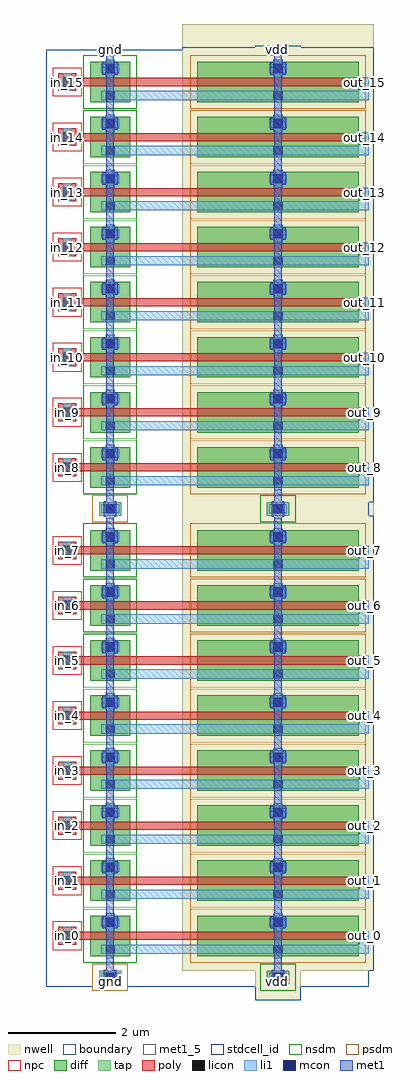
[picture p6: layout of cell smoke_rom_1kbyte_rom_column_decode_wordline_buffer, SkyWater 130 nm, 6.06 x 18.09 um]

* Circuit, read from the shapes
.subckt smoke_rom_1kbyte_rom_column_decode_wordline_buffer gnd in_0 in_1 in_10 in_11 in_12 in_13 in_14 in_15 in_2 in_3 in_4 in_5 in_6 in_7 in_8 in_9 out_0 out_1 out_10 out_11 out_12 out_13 out_14 out_15 out_2 out_3 out_4 out_5 out_6 out_7 out_8 out_9 vdd
XM1 gnd in_0 out_0 gnd sky130_fd_pr__nfet_01v8 w=0.74 l=0.15
XM2 gnd in_1 out_1 gnd sky130_fd_pr__nfet_01v8 w=0.74 l=0.15
XM3 gnd in_2 out_2 gnd sky130_fd_pr__nfet_01v8 w=0.74 l=0.15
XM4 gnd in_3 out_3 gnd sky130_fd_pr__nfet_01v8 w=0.74 l=0.15
XM5 gnd in_4 out_4 gnd sky130_fd_pr__nfet_01v8 w=0.74 l=0.15
XM6 gnd in_5 out_5 gnd sky130_fd_pr__nfet_01v8 w=0.74 l=0.15
XM7 gnd in_6 out_6 gnd sky130_fd_pr__nfet_01v8 w=0.74 l=0.15
XM8 gnd in_7 out_7 gnd sky130_fd_pr__nfet_01v8 w=0.74 l=0.15
XM9 gnd in_8 out_8 gnd sky130_fd_pr__nfet_01v8 w=0.74 l=0.15
XM10 gnd in_9 out_9 gnd sky130_fd_pr__nfet_01v8 w=0.74 l=0.15
XM11 gnd in_10 out_10 gnd sky130_fd_pr__nfet_01v8 w=0.74 l=0.15
XM12 gnd in_11 out_11 gnd sky130_fd_pr__nfet_01v8 w=0.74 l=0.15
XM13 gnd in_12 out_12 gnd sky130_fd_pr__nfet_01v8 w=0.74 l=0.15
XM14 gnd in_13 out_13 gnd sky130_fd_pr__nfet_01v8 w=0.74 l=0.15
XM15 gnd in_14 out_14 gnd sky130_fd_pr__nfet_01v8 w=0.74 l=0.15
XM16 gnd in_15 out_15 gnd sky130_fd_pr__nfet_01v8 w=0.74 l=0.15
XM17 vdd in_0 out_0 vdd sky130_fd_pr__pfet_01v8 w=3 l=0.15
XM18 vdd in_1 out_1 vdd sky130_fd_pr__pfet_01v8 w=3 l=0.15
XM19 vdd in_2 out_2 vdd sky130_fd_pr__pfet_01v8 w=3 l=0.15
XM20 vdd in_3 out_3 vdd sky130_fd_pr__pfet_01v8 w=3 l=0.15
XM21 vdd in_4 out_4 vdd sky130_fd_pr__pfet_01v8 w=3 l=0.15
XM22 vdd in_5 out_5 vdd sky130_fd_pr__pfet_01v8 w=3 l=0.15
XM23 vdd in_6 out_6 vdd sky130_fd_pr__pfet_01v8 w=3 l=0.15
XM24 vdd in_7 out_7 vdd sky130_fd_pr__pfet_01v8 w=3 l=0.15
XM25 vdd in_8 out_8 vdd sky130_fd_pr__pfet_01v8 w=3 l=0.15
XM26 vdd in_9 out_9 vdd sky130_fd_pr__pfet_01v8 w=3 l=0.15
XM27 vdd in_10 out_10 vdd sky130_fd_pr__pfet_01v8 w=3 l=0.15
XM28 vdd in_11 out_11 vdd sky130_fd_pr__pfet_01v8 w=3 l=0.15
XM29 vdd in_12 out_12 vdd sky130_fd_pr__pfet_01v8 w=3 l=0.15
XM30 vdd in_13 out_13 vdd sky130_fd_pr__pfet_01v8 w=3 l=0.15
XM31 vdd in_14 out_14 vdd sky130_fd_pr__pfet_01v8 w=3 l=0.15
XM32 vdd in_15 out_15 vdd sky130_fd_pr__pfet_01v8 w=3 l=0.15
.ends

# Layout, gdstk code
from math import pi, radians
import gdstk
lib = gdstk.Library(unit=1e-6, precision=1e-09)
def R(c, l, rs):  # rectangles x0, y0, x1, y1
    for r in rs: c.add(gdstk.rectangle(r[:2], r[2:], *l))
def A(c, l, x, y, w, h, nx, ny, dx, dy):  # array of equal rectangles
    R(c, l, [(x+i*dx, y+j*dy, x+i*dx+w, y+j*dy+h) for i in range(nx) for j in range(ny)])
nwell = (64, 20)
diff = (65, 20)
tap = (65, 44)
poly = (66, 20)
licon = (66, 44)
li1 = (67, 20)
mcon = (67, 44)
met1_5 = (68, 5)
met1 = (68, 20)
stdcell_id = (81, 4)
nsdm = (93, 44)
psdm = (94, 20)
npc = (95, 20)
boundary = (235, 4)

smoke_rom_1kbyte_contact = lib.new_cell('smoke_rom_1kbyte_contact_10')
R(smoke_rom_1kbyte_contact, nwell, [(-0.295,-0.255,0.545,0.585)])
R(smoke_rom_1kbyte_contact, diff, [(0,0.02,0.25,0.31)])
R(smoke_rom_1kbyte_contact, licon, [(0.04,0.08,0.21,0.25)])
R(smoke_rom_1kbyte_contact, li1, [(0.04,0,0.21,0.33)])
R(smoke_rom_1kbyte_contact, stdcell_id, [(-0.295,-0.255,0.545,0.585)])
R(smoke_rom_1kbyte_contact, psdm, [(-0.125,-0.105,0.375,0.435)])
R(smoke_rom_1kbyte_contact, boundary, [(-0.295,-0.255,0.545,0.585)])

smoke_rom_1kbyte_pmos_m1 = lib.new_cell('smoke_rom_1kbyte_pmos_m1_w3_000_sli_dli_da_p')
R(smoke_rom_1kbyte_pmos_m1, nwell, [(-0.27,-0.27,1.02,3.27)])
R(smoke_rom_1kbyte_pmos_m1, diff, [(0,0,0.75,3)])
R(smoke_rom_1kbyte_pmos_m1, poly, [(0.3,-0.13,0.45,3.13), (0.3,-0.13,0.45,3.13)])
R(smoke_rom_1kbyte_pmos_m1, li1, [(0.04,1.335,0.21,1.665), (0.54,1.335,0.71,1.665)])
R(smoke_rom_1kbyte_pmos_m1, stdcell_id, [(-0.27,-0.27,1.02,3.27)])
R(smoke_rom_1kbyte_pmos_m1, psdm, [(-0.125,-0.125,0.875,3.125)])
R(smoke_rom_1kbyte_pmos_m1, boundary, [(-0.27,-0.27,1.02,3.27)])
smoke_rom_1kbyte_pmos_m1.add(gdstk.Reference(smoke_rom_1kbyte_contact, (0,1.335)))
smoke_rom_1kbyte_pmos_m1.add(gdstk.Reference(smoke_rom_1kbyte_contact, (0.5,1.335)))
smoke_rom_1kbyte_pmos_m1.add(gdstk.Label('G', (0.375,1.5), layer=66, texttype=5))
smoke_rom_1kbyte_pmos_m1.add(gdstk.Label('S', (0.125,1.5), layer=67, texttype=5))
smoke_rom_1kbyte_pmos_m1.add(gdstk.Label('D', (0.625,1.5), layer=67, texttype=5))

c_smoke_rom_1kbyte_contact = lib.new_cell('smoke_rom_1kbyte_contact_8')
R(c_smoke_rom_1kbyte_contact, diff, [(0,0.02,0.25,0.31)])
R(c_smoke_rom_1kbyte_contact, licon, [(0.04,0.08,0.21,0.25)])
R(c_smoke_rom_1kbyte_contact, li1, [(0.04,0,0.21,0.33)])
R(c_smoke_rom_1kbyte_contact, stdcell_id, [(-0.125,-0.105,0.375,0.435)])
R(c_smoke_rom_1kbyte_contact, nsdm, [(-0.125,-0.105,0.375,0.435)])
R(c_smoke_rom_1kbyte_contact, boundary, [(-0.125,-0.105,0.375,0.435)])

smoke_rom_1kbyte_nmos_m1 = lib.new_cell('smoke_rom_1kbyte_nmos_m1_w0_740_sli_dli_da_p')
R(smoke_rom_1kbyte_nmos_m1, diff, [(0,0,0.75,0.74)])
R(smoke_rom_1kbyte_nmos_m1, poly, [(0.3,-0.13,0.45,0.87), (0.3,-0.13,0.45,0.87)])
R(smoke_rom_1kbyte_nmos_m1, li1, [(0.04,0.205,0.21,0.535), (0.54,0.205,0.71,0.535)])
R(smoke_rom_1kbyte_nmos_m1, stdcell_id, [(-0.125,-0.13,0.875,0.87)])
R(smoke_rom_1kbyte_nmos_m1, nsdm, [(-0.125,-0.125,0.875,0.865)])
R(smoke_rom_1kbyte_nmos_m1, boundary, [(-0.125,-0.13,0.875,0.87)])
smoke_rom_1kbyte_nmos_m1.add(gdstk.Reference(c_smoke_rom_1kbyte_contact, (0,0.205)))
smoke_rom_1kbyte_nmos_m1.add(gdstk.Reference(c_smoke_rom_1kbyte_contact, (0.5,0.205)))
smoke_rom_1kbyte_nmos_m1.add(gdstk.Label('G', (0.375,0.37), layer=66, texttype=5))
smoke_rom_1kbyte_nmos_m1.add(gdstk.Label('S', (0.125,0.37), layer=67, texttype=5))
smoke_rom_1kbyte_nmos_m1.add(gdstk.Label('D', (0.625,0.37), layer=67, texttype=5))

c_smoke_rom_1kbyte_contact_ = lib.new_cell('smoke_rom_1kbyte_contact_11')
R(c_smoke_rom_1kbyte_contact_, poly, [(0,0,0.33,0.33)])
R(c_smoke_rom_1kbyte_contact_, licon, [(0.08,0.08,0.25,0.25)])
R(c_smoke_rom_1kbyte_contact_, li1, [(0.08,0,0.25,0.33)])
R(c_smoke_rom_1kbyte_contact_, stdcell_id, [(-0.1,-0.1,0.43,0.43)])
R(c_smoke_rom_1kbyte_contact_, npc, [(-0.1,-0.1,0.43,0.43)])
R(c_smoke_rom_1kbyte_contact_, boundary, [(-0.1,-0.1,0.43,0.43)])

c_smoke_rom_1kbyte_contact__ = lib.new_cell('smoke_rom_1kbyte_contact_12')
R(c_smoke_rom_1kbyte_contact__, li1, [(0.06,0,0.23,0.33)])
R(c_smoke_rom_1kbyte_contact__, mcon, [(0.06,0.08,0.23,0.25)])
R(c_smoke_rom_1kbyte_contact__, met1, [(0,0.05,0.29,0.28)])
R(c_smoke_rom_1kbyte_contact__, stdcell_id, [(0,0,0.29,0.33)])
R(c_smoke_rom_1kbyte_contact__, boundary, [(0,0,0.29,0.33)])

smoke_rom_1kbyte_pinv_de = lib.new_cell('smoke_rom_1kbyte_pinv_dec_2')
R(smoke_rom_1kbyte_pinv_de, nwell, [(2.52,0,6.06,1.495)])
R(smoke_rom_1kbyte_pinv_de, poly, [(0.385,0.345,0.68,0.495), (1.68,0.345,2.66,0.495)])
R(smoke_rom_1kbyte_pinv_de, li1, [(1.015,0.085,5.97,0.255), (0.3,0.255,0.47,0.585)])
R(smoke_rom_1kbyte_pinv_de, met1_5, [(1.11,0,1.25,1.02), (4.22,0,4.36,1.02)])
R(smoke_rom_1kbyte_pinv_de, met1, [(1.11,0,1.25,1.02), (4.22,0,4.36,1.02)])
R(smoke_rom_1kbyte_pinv_de, stdcell_id, [(0,0,5.97,1.02), (0,0,5.97,1.02)])
R(smoke_rom_1kbyte_pinv_de, nsdm, [(0.685,0,1.675,0.795)])
R(smoke_rom_1kbyte_pinv_de, psdm, [(2.665,0,5.915,0.795)])
R(smoke_rom_1kbyte_pinv_de, boundary, [(0,0,5.97,1.02), (0,0,5.97,1.02)])
smoke_rom_1kbyte_pinv_de.add(gdstk.Reference(smoke_rom_1kbyte_pmos_m1, (2.79,0.795), rotation=3*pi/2))
smoke_rom_1kbyte_pinv_de.add(gdstk.Reference(smoke_rom_1kbyte_nmos_m1, (0.81,0.795), rotation=3*pi/2))
smoke_rom_1kbyte_pinv_de.add(gdstk.Reference(c_smoke_rom_1kbyte_contact_, (0.22,0.255)))
smoke_rom_1kbyte_pinv_de.add(gdstk.Reference(c_smoke_rom_1kbyte_contact__, (1.035,0.505)))
smoke_rom_1kbyte_pinv_de.add(gdstk.Reference(c_smoke_rom_1kbyte_contact__, (4.145,0.505)))
smoke_rom_1kbyte_pinv_de.add(gdstk.Label('A', (0.385,0.42), layer=67, texttype=5))
smoke_rom_1kbyte_pinv_de.add(gdstk.Label('Z', (3.492,0.17), layer=67, texttype=5))
smoke_rom_1kbyte_pinv_de.add(gdstk.Label('gnd', (1.18,0.51), layer=68, texttype=5))
smoke_rom_1kbyte_pinv_de.add(gdstk.Label('vdd', (4.29,0.51), layer=68, texttype=5))

c_smoke_rom_1kbyte_contact___ = lib.new_cell('smoke_rom_1kbyte_contact_15')
R(c_smoke_rom_1kbyte_contact___, nwell, [(-0.215,-0.295,0.625,0.545)])
R(c_smoke_rom_1kbyte_contact___, tap, [(0,0,0.41,0.25)])
R(c_smoke_rom_1kbyte_contact___, licon, [(0.12,0.04,0.29,0.21)])
R(c_smoke_rom_1kbyte_contact___, li1, [(0.04,0.04,0.37,0.21)])
R(c_smoke_rom_1kbyte_contact___, stdcell_id, [(-0.215,-0.295,0.625,0.545)])
R(c_smoke_rom_1kbyte_contact___, nsdm, [(-0.125,-0.125,0.535,0.375)])
R(c_smoke_rom_1kbyte_contact___, boundary, [(-0.215,-0.295,0.625,0.545)])

c_smoke_rom_1kbyte_contact____ = lib.new_cell('smoke_rom_1kbyte_contact_17')
R(c_smoke_rom_1kbyte_contact____, li1, [(0,0.06,0.33,0.23)])
R(c_smoke_rom_1kbyte_contact____, mcon, [(0.08,0.06,0.25,0.23)])
R(c_smoke_rom_1kbyte_contact____, met1, [(0.05,0,0.28,0.29)])
R(c_smoke_rom_1kbyte_contact____, stdcell_id, [(0,0,0.33,0.29)])
R(c_smoke_rom_1kbyte_contact____, boundary, [(0,0,0.33,0.29)])

c_smoke_rom_1kbyte_contact_____ = lib.new_cell('smoke_rom_1kbyte_contact_16')
R(c_smoke_rom_1kbyte_contact_____, tap, [(0,0,0.41,0.25)])
R(c_smoke_rom_1kbyte_contact_____, licon, [(0.12,0.04,0.29,0.21)])
R(c_smoke_rom_1kbyte_contact_____, li1, [(0.04,0.04,0.37,0.21)])
R(c_smoke_rom_1kbyte_contact_____, stdcell_id, [(-0.125,-0.125,0.535,0.375)])
R(c_smoke_rom_1kbyte_contact_____, psdm, [(-0.125,-0.125,0.535,0.375)])
R(c_smoke_rom_1kbyte_contact_____, boundary, [(-0.125,-0.125,0.535,0.375)])

smoke_rom_1kbyte_rom_col = lib.new_cell('smoke_rom_1kbyte_rom_column_decode_wordline_buffer')
A(smoke_rom_1kbyte_rom_col, li1, 5.8, 0.69, 0.17, 0.335, 1, 8, 0, 1.02)
A(smoke_rom_1kbyte_rom_col, li1, 0.3, 0.775, 0.17, 0.33, 1, 8, 0, 1.02)
A(smoke_rom_1kbyte_rom_col, li1, 5.8, 0.855, 0.17, 0.17, 1, 8, 0, 1.02)
A(smoke_rom_1kbyte_rom_col, li1, 5.8, 9.37, 0.17, 0.335, 1, 8, 0, 1.02)
A(smoke_rom_1kbyte_rom_col, li1, 0.3, 9.455, 0.17, 0.33, 1, 8, 0, 1.02)
A(smoke_rom_1kbyte_rom_col, li1, 5.8, 9.535, 0.17, 0.17, 1, 8, 0, 1.02)
R(smoke_rom_1kbyte_rom_col, met1_5, [(1.11,0.03,1.25,0.17), (4.22,0.03,4.36,0.17), (1.11,17.29,1.25,17.43), (4.22,17.29,4.36,17.43)])
A(smoke_rom_1kbyte_rom_col, met1, 1.11, 0.96, 0.14, 0.14, 1, 8, 0, 1.02)
A(smoke_rom_1kbyte_rom_col, met1, 4.22, 0.96, 0.14, 0.14, 1, 8, 0, 1.02)
A(smoke_rom_1kbyte_rom_col, met1, 1.11, 9.64, 0.14, 0.14, 1, 8, 0, 1.02)
A(smoke_rom_1kbyte_rom_col, met1, 4.22, 9.64, 0.14, 0.14, 1, 8, 0, 1.02)
R(smoke_rom_1kbyte_rom_col, met1, [(1.11,0.03,1.25,0.17), (1.11,0.03,1.25,17.43), (4.22,0.03,4.36,0.17), (4.22,0.03,4.36,17.43), (1.11,0.1,1.25,0.24), (4.22,0.1,4.36,0.24), (1.11,8.78,1.25,8.92), (4.22,8.78,4.36,8.92), (1.11,17.29,1.25,17.43), (4.22,17.29,4.36,17.43)])
R(smoke_rom_1kbyte_rom_col, stdcell_id, [(0,0,5.97,16.32)])
R(smoke_rom_1kbyte_rom_col, boundary, [(0,0,5.97,16.32)])
smoke_rom_1kbyte_rom_col.add(gdstk.Reference(smoke_rom_1kbyte_pinv_de, (0,0.52)))
smoke_rom_1kbyte_rom_col.add(gdstk.Reference(smoke_rom_1kbyte_pinv_de, (0,1.54)))
smoke_rom_1kbyte_rom_col.add(gdstk.Reference(smoke_rom_1kbyte_pinv_de, (0,2.56)))
smoke_rom_1kbyte_rom_col.add(gdstk.Reference(smoke_rom_1kbyte_pinv_de, (0,3.58)))
smoke_rom_1kbyte_rom_col.add(gdstk.Reference(smoke_rom_1kbyte_pinv_de, (0,4.6)))
smoke_rom_1kbyte_rom_col.add(gdstk.Reference(smoke_rom_1kbyte_pinv_de, (0,5.62)))
smoke_rom_1kbyte_rom_col.add(gdstk.Reference(smoke_rom_1kbyte_pinv_de, (0,6.64)))
smoke_rom_1kbyte_rom_col.add(gdstk.Reference(smoke_rom_1kbyte_pinv_de, (0,7.66)))
smoke_rom_1kbyte_rom_col.add(gdstk.Reference(smoke_rom_1kbyte_pinv_de, (0,9.2)))
smoke_rom_1kbyte_rom_col.add(gdstk.Reference(smoke_rom_1kbyte_pinv_de, (0,10.22)))
smoke_rom_1kbyte_rom_col.add(gdstk.Reference(smoke_rom_1kbyte_pinv_de, (0,11.24)))
smoke_rom_1kbyte_rom_col.add(gdstk.Reference(smoke_rom_1kbyte_pinv_de, (0,12.26)))
smoke_rom_1kbyte_rom_col.add(gdstk.Reference(smoke_rom_1kbyte_pinv_de, (0,13.28)))
smoke_rom_1kbyte_rom_col.add(gdstk.Reference(smoke_rom_1kbyte_pinv_de, (0,14.3)))
smoke_rom_1kbyte_rom_col.add(gdstk.Reference(smoke_rom_1kbyte_pinv_de, (0,15.32)))
smoke_rom_1kbyte_rom_col.add(gdstk.Reference(smoke_rom_1kbyte_pinv_de, (0,16.34)))
smoke_rom_1kbyte_rom_col.add(gdstk.Reference(c_smoke_rom_1kbyte_contact___, (4.085,0.045)))
smoke_rom_1kbyte_rom_col.add(gdstk.Reference(c_smoke_rom_1kbyte_contact____, (4.125,0.025)))
smoke_rom_1kbyte_rom_col.add(gdstk.Reference(c_smoke_rom_1kbyte_contact_____, (0.975,0.045)))
smoke_rom_1kbyte_rom_col.add(gdstk.Reference(c_smoke_rom_1kbyte_contact____, (1.015,0.025)))
smoke_rom_1kbyte_rom_col.add(gdstk.Reference(c_smoke_rom_1kbyte_contact___, (4.085,8.725)))
smoke_rom_1kbyte_rom_col.add(gdstk.Reference(c_smoke_rom_1kbyte_contact____, (4.125,8.705)))
smoke_rom_1kbyte_rom_col.add(gdstk.Reference(c_smoke_rom_1kbyte_contact_____, (0.975,8.725)))
smoke_rom_1kbyte_rom_col.add(gdstk.Reference(c_smoke_rom_1kbyte_contact____, (1.015,8.705)))
smoke_rom_1kbyte_rom_col.add(gdstk.Label('in_0', (0.385,0.94), layer=67, texttype=5))
smoke_rom_1kbyte_rom_col.add(gdstk.Label('out_0', (5.885,0.94), layer=67, texttype=5))
smoke_rom_1kbyte_rom_col.add(gdstk.Label('in_1', (0.385,1.96), layer=67, texttype=5))
smoke_rom_1kbyte_rom_col.add(gdstk.Label('out_1', (5.885,1.96), layer=67, texttype=5))
smoke_rom_1kbyte_rom_col.add(gdstk.Label('in_2', (0.385,2.98), layer=67, texttype=5))
smoke_rom_1kbyte_rom_col.add(gdstk.Label('out_2', (5.885,2.98), layer=67, texttype=5))
smoke_rom_1kbyte_rom_col.add(gdstk.Label('in_3', (0.385,4), layer=67, texttype=5))
smoke_rom_1kbyte_rom_col.add(gdstk.Label('out_3', (5.885,4), layer=67, texttype=5))
smoke_rom_1kbyte_rom_col.add(gdstk.Label('in_4', (0.385,5.02), layer=67, texttype=5))
smoke_rom_1kbyte_rom_col.add(gdstk.Label('out_4', (5.885,5.02), layer=67, texttype=5))
smoke_rom_1kbyte_rom_col.add(gdstk.Label('in_5', (0.385,6.04), layer=67, texttype=5))
smoke_rom_1kbyte_rom_col.add(gdstk.Label('out_5', (5.885,6.04), layer=67, texttype=5))
smoke_rom_1kbyte_rom_col.add(gdstk.Label('in_6', (0.385,7.06), layer=67, texttype=5))
smoke_rom_1kbyte_rom_col.add(gdstk.Label('out_6', (5.885,7.06), layer=67, texttype=5))
smoke_rom_1kbyte_rom_col.add(gdstk.Label('in_7', (0.385,8.08), layer=67, texttype=5))
smoke_rom_1kbyte_rom_col.add(gdstk.Label('out_7', (5.885,8.08), layer=67, texttype=5))
smoke_rom_1kbyte_rom_col.add(gdstk.Label('in_8', (0.385,9.62), layer=67, texttype=5))
smoke_rom_1kbyte_rom_col.add(gdstk.Label('out_8', (5.885,9.62), layer=67, texttype=5))
smoke_rom_1kbyte_rom_col.add(gdstk.Label('in_9', (0.385,10.64), layer=67, texttype=5))
smoke_rom_1kbyte_rom_col.add(gdstk.Label('out_9', (5.885,10.64), layer=67, texttype=5))
smoke_rom_1kbyte_rom_col.add(gdstk.Label('in_10', (0.385,11.66), layer=67, texttype=5))
smoke_rom_1kbyte_rom_col.add(gdstk.Label('out_10', (5.885,11.66), layer=67, texttype=5))
smoke_rom_1kbyte_rom_col.add(gdstk.Label('in_11', (0.385,12.68), layer=67, texttype=5))
smoke_rom_1kbyte_rom_col.add(gdstk.Label('out_11', (5.885,12.68), layer=67, texttype=5))
smoke_rom_1kbyte_rom_col.add(gdstk.Label('in_12', (0.385,13.7), layer=67, texttype=5))
smoke_rom_1kbyte_rom_col.add(gdstk.Label('out_12', (5.885,13.7), layer=67, texttype=5))
smoke_rom_1kbyte_rom_col.add(gdstk.Label('in_13', (0.385,14.72), layer=67, texttype=5))
smoke_rom_1kbyte_rom_col.add(gdstk.Label('out_13', (5.885,14.72), layer=67, texttype=5))
smoke_rom_1kbyte_rom_col.add(gdstk.Label('in_14', (0.385,15.74), layer=67, texttype=5))
smoke_rom_1kbyte_rom_col.add(gdstk.Label('out_14', (5.885,15.74), layer=67, texttype=5))
smoke_rom_1kbyte_rom_col.add(gdstk.Label('in_15', (0.385,16.76), layer=67, texttype=5))
smoke_rom_1kbyte_rom_col.add(gdstk.Label('out_15', (5.885,16.76), layer=67, texttype=5))
smoke_rom_1kbyte_rom_col.add(gdstk.Label('gnd', (1.18,17.36), layer=68, texttype=5))
smoke_rom_1kbyte_rom_col.add(gdstk.Label('gnd', (1.18,0.1), layer=68, texttype=5))
smoke_rom_1kbyte_rom_col.add(gdstk.Label('vdd', (4.29,0.1), layer=68, texttype=5))
smoke_rom_1kbyte_rom_col.add(gdstk.Label('vdd', (4.29,17.36), layer=68, texttype=5))

lib.write_gds('smoke_rom_1kbyte_rom_column_decode_wordline_buffer.gds')
